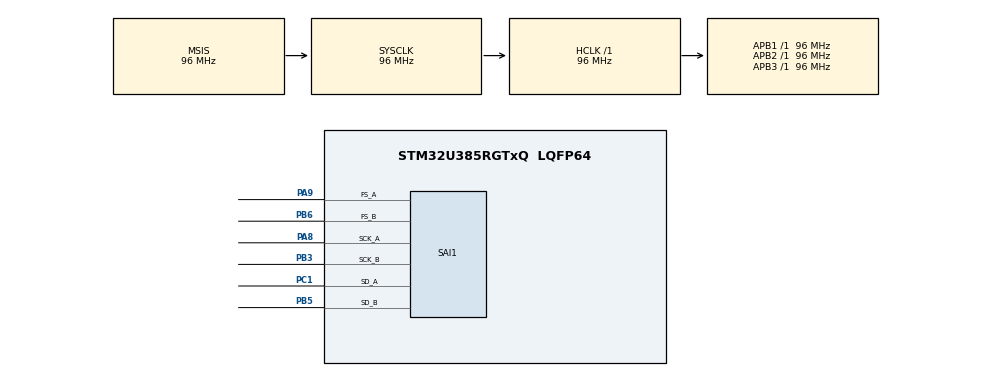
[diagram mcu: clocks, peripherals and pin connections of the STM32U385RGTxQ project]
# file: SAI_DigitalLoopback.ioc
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CORTEX_M33_NS.userName=CORTEX_M33
GPDMA1.CIRCULARMODE_GPDMACH0=ENABLE
GPDMA1.CIRCULARMODE_GPDMACH1=ENABLE
GPDMA1.ChannelPRIV_GPDMACH0=DMA_CHANNEL_NPRIV
GPDMA1.ChannelPRIV_GPDMACH1=DMA_CHANNEL_NPRIV
GPDMA1.DESTDATAWIDTH_GPDMACH0=DMA_DEST_DATAWIDTH_HALFWORD
GPDMA1.DESTDATAWIDTH_GPDMACH1=DMA_DEST_DATAWIDTH_HALFWORD
GPDMA1.DESTINC_GPDMACH1=DMA_DINC_INCREMENTED
GPDMA1.DIRECTION_GPDMACH0=DMA_MEMORY_TO_PERIPH
GPDMA1.DMAHANDLE_GPDMACH0=hdmatx
GPDMA1.IPHANDLE_GPDMACH0-SIMPLEREQUEST_GPDMACH0=__NULL
GPDMA1.IPHANDLE_GPDMACH1-SIMPLEREQUEST_GPDMACH1=__NULL
GPDMA1.LINKALLOCATEDPORT_CIRCULAR_GPDMACH1=DMA_LINK_ALLOCATED_PORT1
GPDMA1.PRIORITY_LL_CIRCULAR_GPDMACH0=DMA_LOW_PRIORITY_HIGH_WEIGHT
GPDMA1.PRIORITY_LL_CIRCULAR_GPDMACH1=DMA_LOW_PRIORITY_HIGH_WEIGHT
GPDMA1.REQUEST_GPDMACH0=GPDMA1_REQUEST_SAI1_A
GPDMA1.REQUEST_GPDMACH1=GPDMA1_REQUEST_SAI1_B
GPDMA1.SRCDATAWIDTH_GPDMACH0=DMA_SRC_DATAWIDTH_HALFWORD
GPDMA1.SRCDATAWIDTH_GPDMACH1=DMA_SRC_DATAWIDTH_HALFWORD
GPDMA1.SRCINC_GPDMACH0=DMA_SINC_INCREMENTED
GPDMA1.TRANSFERALLOCATEDPORTDEST_GPDMACH0=DMA_DEST_ALLOCATED_PORT1
GPDMA1.TRANSFERALLOCATEDPORTDEST_GPDMACH1=DMA_DEST_ALLOCATED_PORT1
Mcu.Family=STM32U3
Mcu.Name=STM32U385RGTxQ
Mcu.Package=LQFP64
NVIC.GPDMA1_Channel0_IRQn=true\:0\:0\:false\:false\:true\:false\:true\:true
NVIC.GPDMA1_Channel1_IRQn=true\:0\:0\:false\:false\:true\:false\:true\:true
NVIC.PriorityGroup=NVIC_PRIORITYGROUP_4
NVIC.SAI1_IRQn=true\:0\:0\:false\:false\:true\:true\:true\:true
PA8.Mode=SAI_A_Master
PA8.Signal=SAI1_SCK_A
PA9.Mode=SAI_A_Master
PA9.Signal=SAI1_FS_A
PB3\ (JTDO/TRACESWO).Mode=SAI_B_AsyncSlave
PB3\ (JTDO/TRACESWO).Signal=SAI1_SCK_B
PB5.Mode=SAI_B_AsyncSlave
PB5.Signal=SAI1_SD_B
PB6.Mode=SAI_B_AsyncSlave
PB6.Signal=SAI1_FS_B
PC1.Mode=SAI_A_Master
PC1.Signal=SAI1_SD_A
ProjectManager.HeapSize=0x200
ProjectManager.StackSize=0x400
ProjectManager.TargetToolchain=EWARM V9.20
RCC.ADCFreq_Value=96000000
RCC.AHBFreq_Value=96000000
RCC.APB1Freq_Value=96000000
RCC.APB1TimFreq_Value=96000000
RCC.APB2Freq_Value=96000000
RCC.APB2TimFreq_Value=96000000
RCC.APB3Freq_Value=96000000
RCC.CortexFreq_Value=12000000
RCC.HCLKFreq_Value=96000000
RCC.HSE_VALUE=16000000
RCC.HSI48_VALUE=48000000
RCC.HSI_VALUE=16000000
RCC.LSE_VALUE=32768
RCC.LSIDIV_VALUE=32000
RCC.MSIKDIV=RCC_MSI_DIV2
RCC.MSISDIV=RCC_MSI_DIV1
RCC.MSI_VALUE=96000000
RCC.SYSCLKFreq_VALUE=96000000
RCC.USBFreq_Value=96000000
SAI1.ActiveFrameLength-SAI_A_Master=16
SAI1.ActiveFrameLength-SAI_B_AsyncSlave=16
SAI1.AudioFrequency-SAI_A_Master=SAI_AUDIO_FREQUENCY_16K
SAI1.ClockStrobing-SAI_A_Master=SAI_CLOCKSTROBING_RISINGEDGE
SAI1.DataSize-SAI_A_Master=SAI_DATASIZE_16
SAI1.DataSize-SAI_B_AsyncSlave=SAI_DATASIZE_16
SAI1.ErrorAudioFreq-SAI_A_Master=-2.34 %
SAI1.FSPolarity-SAI_A_Master=SAI_FS_ACTIVE_HIGH
SAI1.FSPolarity-SAI_B_AsyncSlave=SAI_FS_ACTIVE_HIGH
SAI1.FrameLength-SAI_A_Master=32
SAI1.FrameLength-SAI_B_AsyncSlave=32
SAI1.Instance-SAI_A_Master=SAI$Index_Block_A
SAI1.Instance-SAI_B_AsyncSlave=SAI$Index_Block_B
SAI1.MckOutput-SAI_A_Master=SAI_MCK_OUTPUT_DISABLE
SAI1.RealAudioFreq-SAI_A_Master=15.625 KHz
SAI1.SlotActive-SAI_A_Master=0x0000FFFF
SAI1.SlotActive-SAI_B_AsyncSlave=0x0000FFFF
SAI1.SlotNumber-SAI_A_Master=2
SAI1.SlotNumber-SAI_B_AsyncSlave=2
SAI1.SlotSize-SAI_A_Master=SAI_SLOTSIZE_DATASIZE
SAI1.VirtualMode-SAI_A_Master=VM_MASTER
SAI1.VirtualMode-SAI_B_AsyncSlave=VM_SLAVE
SAI1.VirtualSlotActive-SAI_A_Master=SAI_SLOTACTIVE_ALL
SAI1.VirtualSlotActive-SAI_B_AsyncSlave=SAI_SLOTACTIVE_ALL
VP_GPDMA1_VS_GPDMACH0.Mode=SIMPLEREQUEST_GPDMACH0
VP_GPDMA1_VS_GPDMACH1.Mode=SIMPLEREQUEST_GPDMACH1
VP_ICACHE_VS_ICACHE.Mode=DirectMappedCache
VP_PWR_VS_DBSignals.Mode=DisableDeadBatterySignals
VP_PWR_VS_LPOM.Mode=PowerOptimisation
VP_PWR_VS_SECSignals.Mode=Security/Privilege
board=custom

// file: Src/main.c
/* USER CODE BEGIN Header */
/**
  ******************************************************************************
  * @file           : main.c
  * @brief          : Main program body
  ******************************************************************************
  * @attention
  *
  * Copyright (c) 2024 STMicroelectronics.
  * All rights reserved.
  *
  * This software is licensed under terms that can be found in the LICENSE file
  * in the root directory of this software component.
  * If no LICENSE file comes with this software, it is provided AS-IS.
  *
  ******************************************************************************
  */
/* USER CODE END Header */
#include "main.h"

SAI_HandleTypeDef hsai_BlockA1;
SAI_HandleTypeDef hsai_BlockB1;
DMA_NodeTypeDef Node_GPDMA1_Channel1;
DMA_QListTypeDef List_GPDMA1_Channel1;
DMA_HandleTypeDef handle_GPDMA1_Channel1;
DMA_NodeTypeDef Node_GPDMA1_Channel0;
DMA_QListTypeDef List_GPDMA1_Channel0;
DMA_HandleTypeDef handle_GPDMA1_Channel0;

/* USER CODE BEGIN PV */
static uint16_t TxBuffer[640U];
static uint16_t RxBuffer[640U];

static __IO uint32_t RxComplete;
/* USER CODE END PV */

void SystemClock_Config(void);
static void MX_GPIO_Init(void);
static void MX_GPDMA1_Init(void);
static void MX_ICACHE_Init(void);
static void MX_SAI1_Init(void);

int main(void)
{

  /* USER CODE BEGIN 1 */
  uint32_t i;
  /* USER CODE END 1 */

  /* MCU Configuration--------------------------------------------------------*/

  /* Reset of all peripherals, Initializes the Flash interface and the Systick. */
  HAL_Init();

  /* Configure the system clock */
  SystemClock_Config();

  /* USER CODE BEGIN SysInit */
  if (BSP_ERROR_NONE != BSP_LED_Init(LED_GREEN))
  {
    Error_Handler();
  }
  /* USER CODE END SysInit */

  /* Initialize all configured peripherals */
  MX_GPIO_Init();
  MX_GPDMA1_Init();
  MX_ICACHE_Init();
  MX_SAI1_Init();
  /* USER CODE BEGIN 2 */
  /* Fill the Tx buffer with values from 1 to 640 */
  for (i = 0; i < 640U; i++)
  {
    TxBuffer[i] = i + 1U;
  }

  /* Start reception and transmission */
  RxComplete = 0;
  if (HAL_OK != HAL_SAI_Receive_DMA(&hsai_BlockB1, (uint8_t *) RxBuffer, 640U))
  {
    Error_Handler();
  }
  if (HAL_OK != HAL_SAI_Transmit_DMA(&hsai_BlockA1, (uint8_t *) TxBuffer, 640U))
  {
    Error_Handler();
  }

  /* Stop reception and transmission after 20 completions */
  while (RxComplete < 20U);
  if (HAL_OK != HAL_SAI_DMAStop(&hsai_BlockB1))
  {
    Error_Handler();
  }
  if (HAL_OK != HAL_SAI_DMAStop(&hsai_BlockA1))
  {
    Error_Handler();
  }

  /* Check buffer received */
  for (i = 0; i < 640U; i++)
  {
    if (TxBuffer[i] != RxBuffer[i])
    {
      Error_Handler();
    }
  }

  if (BSP_ERROR_NONE != BSP_LED_On(LED_GREEN))
  {
    Error_Handler();
  }
  /* USER CODE END 2 */

  /* Infinite loop */
  while (1)
  {

  }
}

void SystemClock_Config(void)
{
  RCC_OscInitTypeDef RCC_OscInitStruct = {0};
  RCC_ClkInitTypeDef RCC_ClkInitStruct = {0};

  /** Enable Epod Booster
  */
  if (HAL_RCCEx_EpodBoosterClkConfig(RCC_EPODBOOSTER_SOURCE_MSIS, RCC_EPODBOOSTER_DIV1) != HAL_OK)
  {
    Error_Handler();
  }

  if (HAL_PWREx_EnableEpodBooster() != HAL_OK)
  {
    Error_Handler();
  }

  /** Configure the main internal regulator output voltage
  */
  if (HAL_PWREx_ControlVoltageScaling(PWR_REGULATOR_VOLTAGE_SCALE1) != HAL_OK)
  {
    Error_Handler();
  }

  /** Set Flash latency before increasing MSIS
  */
  __HAL_FLASH_SET_LATENCY(FLASH_LATENCY_2);

  /** Initializes the CPU, AHB and APB buses clocks
  */
  RCC_OscInitStruct.OscillatorType = RCC_OSCILLATORTYPE_MSIS|RCC_OSCILLATORTYPE_MSIK;
  RCC_OscInitStruct.MSISState = RCC_MSI_ON;
  RCC_OscInitStruct.MSISSource = RCC_MSI_RC0;
  RCC_OscInitStruct.MSISDiv = RCC_MSI_DIV1;
  RCC_OscInitStruct.MSIKState = RCC_MSI_ON;
  RCC_OscInitStruct.MSIKSource = RCC_MSI_RC0;
  RCC_OscInitStruct.MSIKDiv = RCC_MSI_DIV2;

  if (HAL_RCC_OscConfig(&RCC_OscInitStruct) != HAL_OK)
  {
    Error_Handler();
  }

  /** Initializes the CPU, AHB and APB buses clocks
  */
  RCC_ClkInitStruct.ClockType = RCC_CLOCKTYPE_HCLK|RCC_CLOCKTYPE_SYSCLK
                              |RCC_CLOCKTYPE_PCLK1|RCC_CLOCKTYPE_PCLK2
                              |RCC_CLOCKTYPE_PCLK3;
  RCC_ClkInitStruct.SYSCLKSource = RCC_SYSCLKSOURCE_MSIS;
  RCC_ClkInitStruct.AHBCLKDivider = RCC_SYSCLK_DIV1;
  RCC_ClkInitStruct.APB1CLKDivider = RCC_HCLK_DIV1;
  RCC_ClkInitStruct.APB2CLKDivider = RCC_HCLK_DIV1;
  RCC_ClkInitStruct.APB3CLKDivider = RCC_HCLK_DIV1;

  if (HAL_RCC_ClockConfig(&RCC_ClkInitStruct, FLASH_LATENCY_2) != HAL_OK)
  {
    Error_Handler();
  }
}

static void MX_GPDMA1_Init(void)
{

  /* Peripheral clock enable */
  __HAL_RCC_GPDMA1_CLK_ENABLE();

  /* GPDMA1 interrupt Init */
    HAL_NVIC_SetPriority(GPDMA1_Channel0_IRQn, 0, 0);
    HAL_NVIC_EnableIRQ(GPDMA1_Channel0_IRQn);
    HAL_NVIC_SetPriority(GPDMA1_Channel1_IRQn, 0, 0);
    HAL_NVIC_EnableIRQ(GPDMA1_Channel1_IRQn);

}

static void MX_ICACHE_Init(void)
{

  /** Enable instruction cache in 1-way (direct mapped cache)
  */
  if (HAL_ICACHE_ConfigAssociativityMode(ICACHE_1WAY) != HAL_OK)
  {
    Error_Handler();
  }
  if (HAL_ICACHE_Enable() != HAL_OK)
  {
    Error_Handler();
  }

}

static void MX_SAI1_Init(void)
{

  hsai_BlockA1.Instance = SAI1_Block_A;
  hsai_BlockA1.Init.Protocol = SAI_FREE_PROTOCOL;
  hsai_BlockA1.Init.AudioMode = SAI_MODEMASTER_TX;
  hsai_BlockA1.Init.DataSize = SAI_DATASIZE_16;
  hsai_BlockA1.Init.FirstBit = SAI_FIRSTBIT_MSB;
  hsai_BlockA1.Init.ClockStrobing = SAI_CLOCKSTROBING_RISINGEDGE;
  hsai_BlockA1.Init.Synchro = SAI_ASYNCHRONOUS;
  hsai_BlockA1.Init.OutputDrive = SAI_OUTPUTDRIVE_DISABLE;
  hsai_BlockA1.Init.NoDivider = SAI_MASTERDIVIDER_ENABLE;
  hsai_BlockA1.Init.FIFOThreshold = SAI_FIFOTHRESHOLD_EMPTY;
  hsai_BlockA1.Init.AudioFrequency = SAI_AUDIO_FREQUENCY_16K;
  hsai_BlockA1.Init.SynchroExt = SAI_SYNCEXT_DISABLE;
  hsai_BlockA1.Init.MckOutput = SAI_MCK_OUTPUT_DISABLE;
  hsai_BlockA1.Init.MonoStereoMode = SAI_STEREOMODE;
  hsai_BlockA1.Init.CompandingMode = SAI_NOCOMPANDING;
  hsai_BlockA1.Init.TriState = SAI_OUTPUT_NOTRELEASED;
  hsai_BlockA1.Init.PdmInit.Activation = DISABLE;
  hsai_BlockA1.Init.PdmInit.MicPairsNbr = 1;
  hsai_BlockA1.Init.PdmInit.ClockEnable = SAI_PDM_CLOCK1_ENABLE;
  hsai_BlockA1.FrameInit.FrameLength = 32;
  hsai_BlockA1.FrameInit.ActiveFrameLength = 16;
  hsai_BlockA1.FrameInit.FSDefinition = SAI_FS_STARTFRAME;
  hsai_BlockA1.FrameInit.FSPolarity = SAI_FS_ACTIVE_HIGH;
  hsai_BlockA1.FrameInit.FSOffset = SAI_FS_FIRSTBIT;
  hsai_BlockA1.SlotInit.FirstBitOffset = 0;
  hsai_BlockA1.SlotInit.SlotSize = SAI_SLOTSIZE_DATASIZE;
  hsai_BlockA1.SlotInit.SlotNumber = 2;
  hsai_BlockA1.SlotInit.SlotActive = 0x0000FFFF;
  if (HAL_SAI_Init(&hsai_BlockA1) != HAL_OK)
  {
    Error_Handler();
  }
  hsai_BlockB1.Instance = SAI1_Block_B;
  hsai_BlockB1.Init.Protocol = SAI_FREE_PROTOCOL;
  hsai_BlockB1.Init.AudioMode = SAI_MODESLAVE_RX;
  hsai_BlockB1.Init.DataSize = SAI_DATASIZE_16;
  hsai_BlockB1.Init.FirstBit = SAI_FIRSTBIT_MSB;
  hsai_BlockB1.Init.ClockStrobing = SAI_CLOCKSTROBING_FALLINGEDGE;
  hsai_BlockB1.Init.Synchro = SAI_ASYNCHRONOUS;
  hsai_BlockB1.Init.OutputDrive = SAI_OUTPUTDRIVE_DISABLE;
  hsai_BlockB1.Init.NoDivider = SAI_MASTERDIVIDER_ENABLE;
  hsai_BlockB1.Init.FIFOThreshold = SAI_FIFOTHRESHOLD_EMPTY;
  hsai_BlockB1.Init.SynchroExt = SAI_SYNCEXT_DISABLE;
  hsai_BlockB1.Init.MckOutput = SAI_MCK_OUTPUT_ENABLE;
  hsai_BlockB1.Init.MonoStereoMode = SAI_STEREOMODE;
  hsai_BlockB1.Init.CompandingMode = SAI_NOCOMPANDING;
  hsai_BlockB1.Init.TriState = SAI_OUTPUT_NOTRELEASED;
  hsai_BlockB1.Init.PdmInit.Activation = DISABLE;
  hsai_BlockB1.Init.PdmInit.MicPairsNbr = 1;
  hsai_BlockB1.Init.PdmInit.ClockEnable = SAI_PDM_CLOCK1_ENABLE;
  hsai_BlockB1.FrameInit.FrameLength = 32;
  hsai_BlockB1.FrameInit.ActiveFrameLength = 16;
  hsai_BlockB1.FrameInit.FSDefinition = SAI_FS_STARTFRAME;
  hsai_BlockB1.FrameInit.FSPolarity = SAI_FS_ACTIVE_HIGH;
  hsai_BlockB1.FrameInit.FSOffset = SAI_FS_FIRSTBIT;
  hsai_BlockB1.SlotInit.FirstBitOffset = 0;
  hsai_BlockB1.SlotInit.SlotSize = SAI_SLOTSIZE_DATASIZE;
  hsai_BlockB1.SlotInit.SlotNumber = 2;
  hsai_BlockB1.SlotInit.SlotActive = 0x0000FFFF;
  if (HAL_SAI_Init(&hsai_BlockB1) != HAL_OK)
  {
    Error_Handler();
  }

}

static void MX_GPIO_Init(void)
{

  /* GPIO Ports Clock Enable */
  __HAL_RCC_GPIOC_CLK_ENABLE();
  __HAL_RCC_GPIOA_CLK_ENABLE();
  __HAL_RCC_GPIOB_CLK_ENABLE();

}

/* USER CODE BEGIN 4 */
/**
  * @brief Rx Transfer completed callback.
  * @param  hsai pointer to a SAI_HandleTypeDef structure that contains
  *              the configuration information for SAI module.
  * @retval None
  */
void HAL_SAI_RxCpltCallback(SAI_HandleTypeDef *hsai)
{
  if (hsai->Instance == hsai_BlockB1.Instance)
  {
    RxComplete++;
  }
}
/* USER CODE END 4 */

void Error_Handler(void)
{
  /* USER CODE BEGIN Error_Handler_Debug */
  /* User can add his own implementation to report the HAL error return state */
  while (1)
  {
    /* Toggle green led for error */
    (void) BSP_LED_Toggle(LED_GREEN);
    HAL_Delay(500);
  }
  /* USER CODE END Error_Handler_Debug */
}
